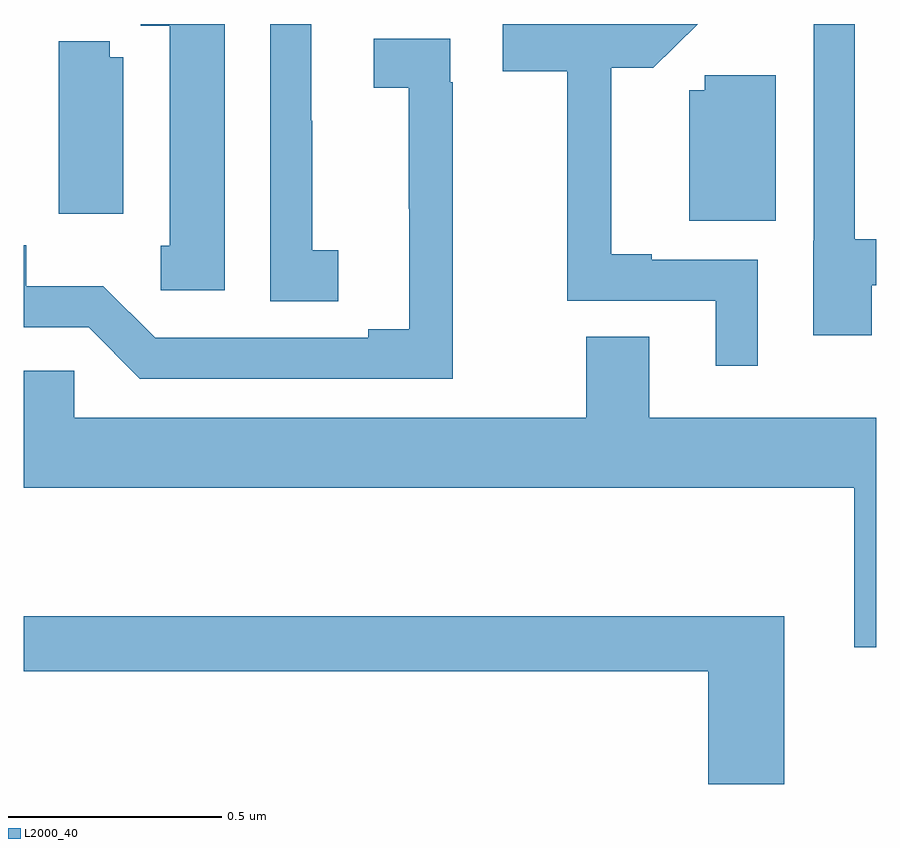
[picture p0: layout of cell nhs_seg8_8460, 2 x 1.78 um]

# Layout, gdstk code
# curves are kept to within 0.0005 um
import gdstk
lib = gdstk.Library(unit=1e-6, precision=1e-09)
def P(c, l, *ps):  # polygons
    for p in ps: c.add(gdstk.Polygon(p, *l))
L2000_40 = (2000, 40)

nhs_seg8_8460 = lib.new_cell('nhs_seg8_8460')
P(nhs_seg8_8460, L2000_40, [(223.738,1138.369),(223.677,1138.369),(223.677,1138.673),(223.675,1138.673),(223.675,1138.9),(223.578,1138.9),(223.578,1138.249),(223.738,1138.249)],
  [(224.722,1138.347),(224.473,1138.347),(224.473,1138.36),(224.378,1138.36),(224.378,1138.797),(224.477,1138.797),(224.581,1138.9),(224.124,1138.9),(224.124,1138.789),(224.275,1138.789),(224.275,1138.251),(224.624,1138.251),(224.624,1138.098),(224.722,1138.098)],
  [(224.989,1138.287),(225,1138.287),(225,1138.395),(224.949,1138.395),(224.949,1138.9),(224.853,1138.9),(224.853,1138.392),(224.852,1138.392),(224.852,1138.17),(224.989,1138.17)],
  [(223.471,1138.9),(223.275,1138.9),(223.275,1138.896),(223.343,1138.896),(223.343,1138.38),(223.321,1138.38),(223.321,1138.275),(223.471,1138.275)],
  [(224.006,1138.763),(224,1138.763),(224,1138.865),(223.821,1138.865),(223.821,1138.75),(223.903,1138.75),(223.904,1138.184),(223.808,1138.184),(223.808,1138.164),(223.308,1138.164),(223.187,1138.285),(223.006,1138.285),(223.006,1138.381),(223,1138.381),(223,1138.188),(223.152,1138.188),(223.272,1138.068),(224.006,1138.068)],
  [(223.234,1138.822),(223.202,1138.822),(223.202,1138.859),(223.082,1138.859),(223.082,1138.455),(223.234,1138.455)],
  [(224.764,1138.78),(224.598,1138.78),(224.598,1138.744),(224.561,1138.744),(224.561,1138.439),(224.764,1138.439)],
  [(225,1137.976),(224.467,1137.976),(224.467,1138.166),(224.32,1138.166),(224.32,1137.976),(223.119,1137.976),(223.119,1138.086),(223,1138.086),(223,1137.812),(224.948,1137.812),(224.948,1137.438),(225,1137.438)],
  [(224.784,1137.511),(223,1137.511),(223,1137.382),(224.606,1137.382),(224.606,1137.117),(224.784,1137.117)])

lib.write_gds('nhs_seg8_8460.gds')
